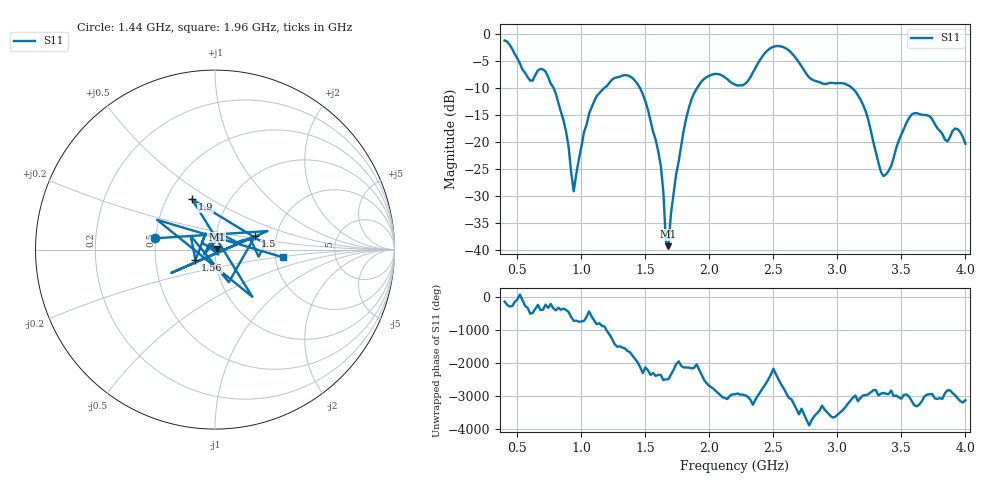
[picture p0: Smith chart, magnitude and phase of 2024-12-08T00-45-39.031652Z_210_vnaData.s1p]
!Created with skrf (http://scikit-rf.org).
# Hz S RI R 50.0
!freq ReS11 ImS11
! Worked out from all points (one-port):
!   181 points, 400 MHz to 4 GHz, reference 50 ohm
!   lowest |S11| = -39.3 dB at 1.68 GHz (marker M1), VSWR 1.02, Z = 51 + j0.41 ohm
!   |S11| at or under -10 dB: 781.7 MHz to 1.182 GHz (400 MHz wide, 40.7 % of centre); 1.456 GHz to 1.906 GHz (449.9 MHz wide, 26.8 % of centre); 3.112 GHz to end of sweep
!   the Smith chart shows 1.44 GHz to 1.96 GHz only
!   S11 on the Smith chart (normalised r, x): 1.44 GHz: 0.49, +0.07; 1.5 GHz: 1.55, +0.25; 1.56 GHz: 0.80, -0.10; 1.9 GHz: 0.67, +0.42; 1.96 GHz: 2.21, -0.22
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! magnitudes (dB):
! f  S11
! 400 MHz  -1.3
! 600 MHz  -8.7
! 720 MHz  -7.0
! 860 MHz  -16.0
! 940 MHz  -29.2
! 1.08 GHz  -13.6
! 1.3 GHz  -8.0
! 1.44 GHz  -9.4
! 1.5 GHz  -12.6
! 1.56 GHz  -18.2
! 1.62 GHz  -24.4
! 1.64 GHz  -29.2
! 1.66 GHz  -38.4
! 1.68 GHz  -39.3
! 1.7 GHz  -33.2
! 1.76 GHz  -23.6
! 1.82 GHz  -15.5
! 1.9 GHz  -10.2
! 1.96 GHz  -8.4
! 2.2 GHz  -9.4
! 2.48 GHz  -2.7
! 2.66 GHz  -4.1
! 2.8 GHz  -8.5
! 3.1 GHz  -9.8
! 3.22 GHz  -14.3
! 3.36 GHz  -26.4
! 3.56 GHz  -15.6
! 4 GHz  -20.4
